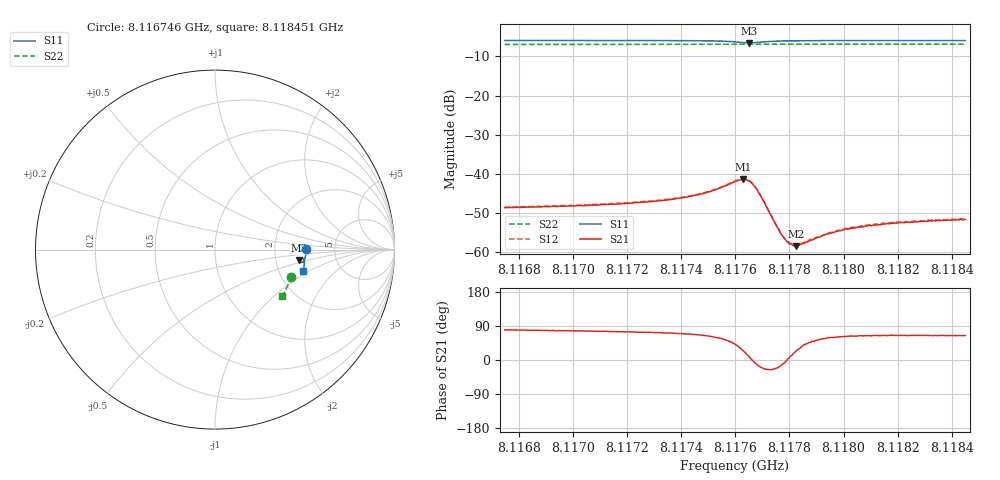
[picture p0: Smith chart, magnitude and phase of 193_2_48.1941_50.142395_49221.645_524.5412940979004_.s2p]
#  HZ  S  RI  R  50.00
! Rohde & Schwarz Vector Network Analyzer
! Rohde-Schwarz,ZNB20-2Port,1311601062101988,3.16
! Created: UTC 3/20/2024, 11:44:43 AM
! freq[Hz]  re:S11  im:S11  re:S21  im:S21  re:S12  im:S12  re:S22  im:S22
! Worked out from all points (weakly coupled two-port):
!   401 points, 8.116746 GHz to 8.118451 GHz, reference 50 ohm
!   highest |S21| = -41.42 dB at 8.117628 GHz (marker M1); lowest = -58.5 dB at 8.117824 GHz (marker M2)
!   lowest |S11| = -6.5 dB at 8.11765 GHz (marker M3), VSWR 2.79, Z = 136 - j20.5 ohm
!   |S11| at or under -10 dB: nowhere
!   |S22| runs from -6.9 to -6.8 dB; largest |S21 - S12| = 0.00023
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8.1167462e9  0.5065 0.00246  0.000664 0.00362  0.000703 0.00368  0.4236 -0.1525
8.1170317e9  0.5057 -0.0198  0.000904 0.00382  0.000963 0.00387  0.4173 -0.1714
8.1173172e9  0.5029 -0.0434  0.0014 0.00431  0.00146 0.00435  0.41 -0.1898
8.1173982e9  0.5014 -0.0509  0.00167 0.00459  0.00181 0.00466  0.408 -0.1951
8.1174706e9  0.4987 -0.0586  0.00226 0.005  0.00235 0.00508  0.4057 -0.1999
8.1175303e9  0.4944 -0.0658  0.00322 0.00546  0.0033 0.00553  0.4038 -0.2039
8.1175984e9  0.4811 -0.0719  0.00596 0.00528  0.0061 0.00534  0.4012 -0.208
8.1176283e9  0.4717 -0.0674  0.00771 0.00357  0.00784 0.00355  0.3999 -0.2092
8.1176496e9  0.4684 -0.0587  0.00799 0.00129  0.00815 0.00127  0.3993 -0.2103
8.1176709e9  0.4722 -0.0499  0.00685 -0.000769  0.00696 -0.000861  0.3992 -0.211
8.1176879e9  0.4782 -0.0466  0.00539 -0.00158  0.00548 -0.00166  0.3989 -0.2122
8.1177561e9  0.4942 -0.0532  0.0019 -0.000698  0.00196 -0.000691  0.3974 -0.2168
8.1177817e9  0.4962 -0.0572  0.00146 -0.000198  0.00149 -0.000185  0.3967 -0.2184
8.117803e9  0.4975 -0.0601  0.00125 0.000221  0.00128 0.000155  0.3961 -0.22
8.1178243e9  0.498 -0.0629  0.00109 0.000482  0.00116 0.000495  0.3956 -0.2212
8.1178371e9  0.4983 -0.0646  0.00107 0.000617  0.00111 0.000665  0.3951 -0.222
8.117884e9  0.4986 -0.0699  0.000928 0.00108  0.000983 0.00108  0.3937 -0.225
8.1179351e9  0.4986 -0.0752  0.000915 0.00142  0.000935 0.00143  0.392 -0.2285
8.117999e9  0.4981 -0.0812  0.000894 0.00169  0.00094 0.00173  0.3897 -0.2323
8.1180885e9  0.4969 -0.0889  0.000944 0.00195  0.000963 0.00201  0.3868 -0.2379
8.1181695e9  0.4958 -0.0954  0.000977 0.00207  0.00102 0.00214  0.384 -0.2428
8.1184507e9  0.4911 -0.1171  0.00111 0.00234  0.00117 0.00239  0.3739 -0.2598
